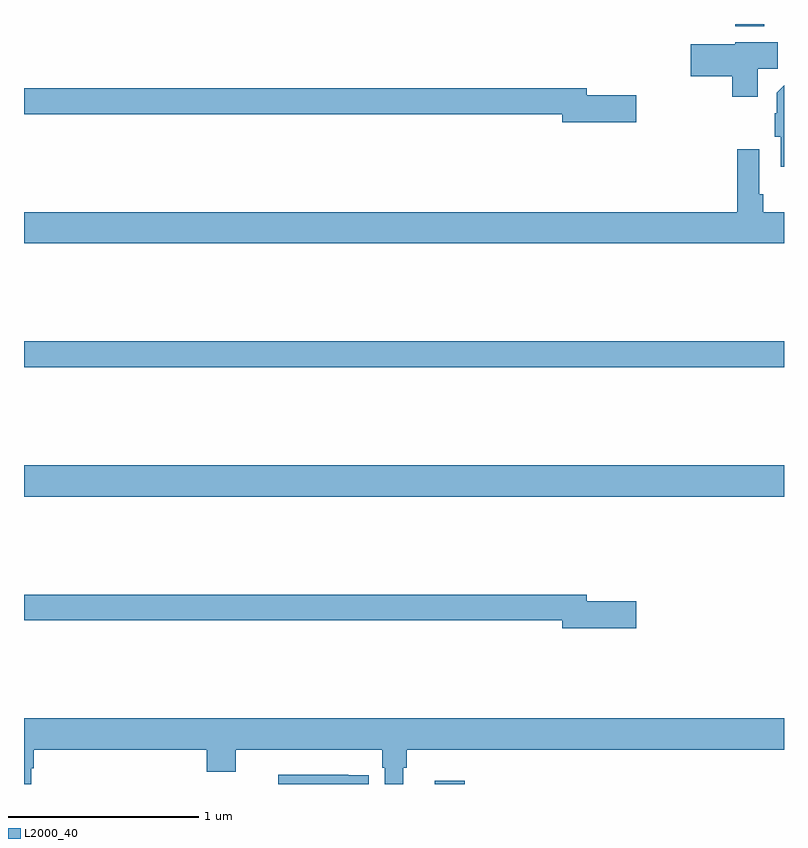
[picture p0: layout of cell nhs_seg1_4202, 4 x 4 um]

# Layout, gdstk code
import gdstk
lib = gdstk.Library(unit=1e-6, precision=1e-09)
def R(c, l, rs):  # rectangles x0, y0, x1, y1
    for r in rs: c.add(gdstk.rectangle(r[:2], r[2:], *l))
def P(c, l, *ps):  # polygons
    for p in ps: c.add(gdstk.Polygon(p, *l))
L2000_40 = (2000, 40)

nhs_seg1_4202 = lib.new_cell('nhs_seg1_4202')
R(nhs_seg1_4202, L2000_40, [(341.162,570.199,341.321,570.217), (339,571.712,343,571.876), (339,572.392,343,572.528), (342.743,574.187,342.895,574.199)])
P(nhs_seg1_4202, L2000_40, [(342.862,573.964),(342.967,573.964),(342.967,574.102),(342.744,574.102),(342.744,574.093),(342.51,574.093),(342.51,573.923),(342.728,573.923),(342.728,573.816),(342.862,573.816)],
  [(343,573.876),(342.962,573.838),(342.962,573.728),(342.95,573.728),(342.95,573.606),(342.983,573.606),(342.983,573.447),(343,573.447)],
  [(342.223,573.824),(341.962,573.824),(341.962,573.86),(339,573.86),(339,573.724),(341.834,573.724),(341.834,573.682),(342.223,573.682)],
  [(343,573.208),(342.89,573.208),(342.89,573.304),(342.87,573.304),(342.87,573.541),(342.754,573.541),(342.754,573.208),(339,573.208),(339,573.044),(343,573.044)],
  [(342.223,571.16),(341.962,571.16),(341.962,571.196),(339,571.196),(339,571.06),(341.834,571.06),(341.834,571.018),(342.223,571.018)],
  [(339.037,570.282),(339.05,570.282),(339.05,570.38),(339.962,570.38),(339.962,570.263),(340.114,570.263),(340.114,570.38),(340.886,570.38),(340.886,570.284),(340.899,570.284),(340.899,570.199),(340.996,570.199),(340.996,570.284),(341.015,570.284),(341.015,570.38),(343,570.38),(343,570.544),(339,570.544),(339,570.199),(339.037,570.199)],
  [(340.814,570.246),(340.706,570.246),(340.706,570.247),(340.338,570.247),(340.338,570.199),(340.814,570.199)])

lib.write_gds('nhs_seg1_4202.gds')
